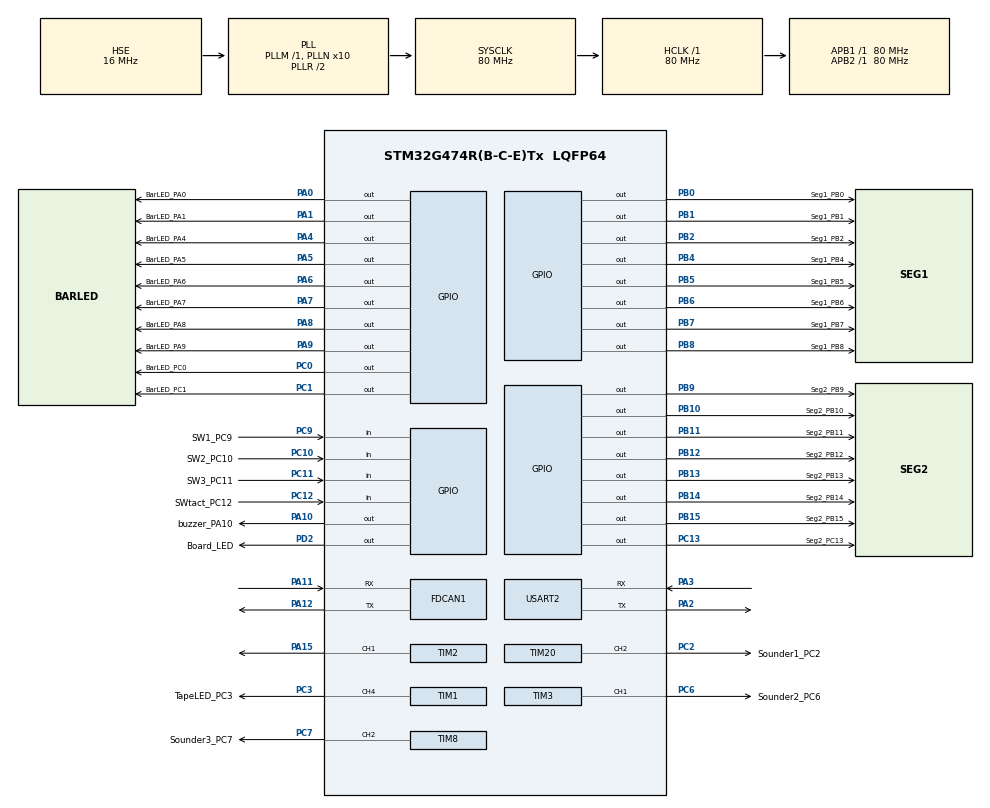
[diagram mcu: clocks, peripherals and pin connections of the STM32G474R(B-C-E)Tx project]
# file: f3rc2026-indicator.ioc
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Dma.Request0=TIM1_CH4
Dma.Request1=TIM2_CH1
Dma.TIM1_CH4.0.Direction=DMA_MEMORY_TO_PERIPH
Dma.TIM1_CH4.0.EventEnable=DISABLE
Dma.TIM1_CH4.0.Instance=DMA1_Channel1
Dma.TIM1_CH4.0.MemDataAlignment=DMA_MDATAALIGN_WORD
Dma.TIM1_CH4.0.MemInc=DMA_MINC_ENABLE
Dma.TIM1_CH4.0.Mode=DMA_NORMAL
Dma.TIM1_CH4.0.PeriphDataAlignment=DMA_PDATAALIGN_WORD
Dma.TIM1_CH4.0.PeriphInc=DMA_PINC_DISABLE
Dma.TIM1_CH4.0.Polarity=HAL_DMAMUX_REQ_GEN_RISING
Dma.TIM1_CH4.0.Priority=DMA_PRIORITY_VERY_HIGH
Dma.TIM1_CH4.0.RequestNumber=1
Dma.TIM1_CH4.0.SignalID=NONE
Dma.TIM1_CH4.0.SyncEnable=DISABLE
Dma.TIM1_CH4.0.SyncPolarity=HAL_DMAMUX_SYNC_NO_EVENT
Dma.TIM1_CH4.0.SyncRequestNumber=1
Dma.TIM1_CH4.0.SyncSignalID=NONE
Dma.TIM2_CH1.1.Direction=DMA_MEMORY_TO_PERIPH
Dma.TIM2_CH1.1.EventEnable=DISABLE
Dma.TIM2_CH1.1.Instance=DMA1_Channel2
Dma.TIM2_CH1.1.MemDataAlignment=DMA_MDATAALIGN_WORD
Dma.TIM2_CH1.1.MemInc=DMA_MINC_ENABLE
Dma.TIM2_CH1.1.Mode=DMA_NORMAL
Dma.TIM2_CH1.1.PeriphDataAlignment=DMA_PDATAALIGN_WORD
Dma.TIM2_CH1.1.PeriphInc=DMA_PINC_DISABLE
Dma.TIM2_CH1.1.Polarity=HAL_DMAMUX_REQ_GEN_RISING
Dma.TIM2_CH1.1.Priority=DMA_PRIORITY_VERY_HIGH
Dma.TIM2_CH1.1.RequestNumber=1
Dma.TIM2_CH1.1.SignalID=NONE
Dma.TIM2_CH1.1.SyncEnable=DISABLE
Dma.TIM2_CH1.1.SyncPolarity=HAL_DMAMUX_SYNC_NO_EVENT
Dma.TIM2_CH1.1.SyncRequestNumber=1
Dma.TIM2_CH1.1.SyncSignalID=NONE
FDCAN1.CalculateBaudRateNominal=1000000
FDCAN1.CalculateTimeBitNominal=1000
FDCAN1.CalculateTimeQuantumNominal=50.0
FDCAN1.DataPrescaler=2
FDCAN1.DataTimeSeg1=15
FDCAN1.DataTimeSeg2=4
FDCAN1.FrameFormat=FDCAN_FRAME_FD_BRS
FDCAN1.NominalPrescaler=4
FDCAN1.NominalTimeSeg1=15
FDCAN1.NominalTimeSeg2=4
FDCAN1.StdFiltersNbr=1
Mcu.Family=STM32G4
Mcu.Name=STM32G474R(B-C-E)Tx
Mcu.Package=LQFP64
NVIC.DMA1_Channel1_IRQn=true\:0\:0\:false\:false\:true\:false\:true\:true
NVIC.DMA1_Channel2_IRQn=true\:0\:0\:false\:false\:true\:false\:true\:true
NVIC.FDCAN1_IT0_IRQn=true\:0\:0\:false\:false\:true\:true\:true\:true
NVIC.FDCAN1_IT1_IRQn=true\:0\:0\:false\:false\:true\:true\:true\:true
NVIC.PriorityGroup=NVIC_PRIORITYGROUP_4
NVIC.TIM1_UP_TIM16_IRQn=true\:0\:0\:false\:false\:true\:true\:true\:true
NVIC.TIM20_UP_IRQn=true\:0\:0\:false\:false\:true\:true\:true\:true
NVIC.TIM3_IRQn=true\:0\:0\:false\:false\:true\:true\:true\:true
NVIC.TIM6_DAC_IRQn=true\:0\:0\:false\:false\:true\:true\:true\:true
NVIC.TIM7_DAC_IRQn=true\:0\:0\:false\:false\:true\:true\:true\:true
NVIC.TIM8_UP_IRQn=true\:0\:0\:false\:false\:true\:true\:true\:true
PA0.GPIO_Label=BarLED_PA0
PA0.PinState=GPIO_PIN_SET
PA0.Signal=GPIO_Output
PA1.GPIO_Label=BarLED_PA1
PA1.PinState=GPIO_PIN_SET
PA1.Signal=GPIO_Output
PA10.GPIO_Label=buzzer_PA10
PA10.Signal=GPIO_Output
PA11.Mode=FDCAN_Activate
PA11.Signal=FDCAN1_RX
PA12.Mode=FDCAN_Activate
PA12.Signal=FDCAN1_TX
PA15.Signal=S_TIM2_CH1
PA2.Mode=Asynchronous
PA2.Signal=USART2_TX
PA3.Mode=Asynchronous
PA3.Signal=USART2_RX
PA4.GPIO_Label=BarLED_PA4
PA4.PinState=GPIO_PIN_SET
PA4.Signal=GPIO_Output
PA5.GPIO_Label=BarLED_PA5
PA5.PinState=GPIO_PIN_SET
PA5.Signal=GPIO_Output
PA6.GPIO_Label=BarLED_PA6
PA6.PinState=GPIO_PIN_SET
PA6.Signal=GPIO_Output
PA7.GPIO_Label=BarLED_PA7
PA7.PinState=GPIO_PIN_SET
PA7.Signal=GPIO_Output
PA8.GPIO_Label=BarLED_PA8
PA8.PinState=GPIO_PIN_SET
PA8.Signal=GPIO_Output
PA9.GPIO_Label=BarLED_PA9
PA9.PinState=GPIO_PIN_SET
PA9.Signal=GPIO_Output
PB0.GPIO_Label=Seg1_PB0
PB0.PinState=GPIO_PIN_SET
PB0.Signal=GPIO_Output
PB1.GPIO_Label=Seg1_PB1
PB1.PinState=GPIO_PIN_SET
PB1.Signal=GPIO_Output
PB10.GPIO_Label=Seg2_PB10
PB10.PinState=GPIO_PIN_SET
PB10.Signal=GPIO_Output
PB11.GPIO_Label=Seg2_PB11
PB11.PinState=GPIO_PIN_SET
PB11.Signal=GPIO_Output
PB12.GPIO_Label=Seg2_PB12
PB12.PinState=GPIO_PIN_SET
PB12.Signal=GPIO_Output
PB13.GPIO_Label=Seg2_PB13
PB13.PinState=GPIO_PIN_SET
PB13.Signal=GPIO_Output
PB14.GPIO_Label=Seg2_PB14
PB14.PinState=GPIO_PIN_SET
PB14.Signal=GPIO_Output
PB15.GPIO_Label=Seg2_PB15
PB15.PinState=GPIO_PIN_SET
PB15.Signal=GPIO_Output
PB2.GPIO_Label=Seg1_PB2
PB2.PinState=GPIO_PIN_SET
PB2.Signal=GPIO_Output
PB4.GPIO_Label=Seg1_PB4
PB4.PinState=GPIO_PIN_SET
PB4.Signal=GPIO_Output
PB5.GPIO_Label=Seg1_PB5
PB5.PinState=GPIO_PIN_SET
PB5.Signal=GPIO_Output
PB6.GPIO_Label=Seg1_PB6
PB6.PinState=GPIO_PIN_SET
PB6.Signal=GPIO_Output
PB7.GPIO_Label=Seg1_PB7
PB7.PinState=GPIO_PIN_SET
PB7.Signal=GPIO_Output
PB8-BOOT0.GPIO_Label=Seg1_PB8
PB8-BOOT0.PinState=GPIO_PIN_SET
PB8-BOOT0.Signal=GPIO_Output
PB9.GPIO_Label=Seg2_PB9
PB9.PinState=GPIO_PIN_SET
PB9.Signal=GPIO_Output
PC0.GPIO_Label=BarLED_PC0
PC0.Signal=GPIO_Output
PC1.GPIO_Label=BarLED_PC1
PC1.Signal=GPIO_Output
PC10.GPIO_Label=SW2_PC10
PC10.Signal=GPIO_Input
PC11.GPIO_Label=SW3_PC11
PC11.Signal=GPIO_Input
PC12.GPIO_Label=SWtact_PC12
PC12.Signal=GPIO_Input
PC13.GPIO_Label=Seg2_PC13
PC13.PinState=GPIO_PIN_SET
PC13.Signal=GPIO_Output
PC2.GPIO_Label=Sounder1_PC2
PC2.Signal=S_TIM20_CH2
PC3.GPIO_Label=TapeLED_PC3
PC3.Signal=S_TIM1_CH4
PC6.GPIO_Label=Sounder2_PC6
PC6.Signal=S_TIM3_CH1
PC7.GPIO_Label=Sounder3_PC7
PC7.Signal=S_TIM8_CH2
PC9.GPIO_Label=SW1_PC9
PC9.GPIO_PuPd=GPIO_NOPULL
PC9.Signal=GPIO_Input
PD2.GPIO_Label=Board_LED
PD2.Signal=GPIO_Output
PF0-OSC_IN.Mode=HSE-External-Oscillator
PF0-OSC_IN.Signal=RCC_OSC_IN
PF1-OSC_OUT.Mode=HSE-External-Oscillator
PF1-OSC_OUT.Signal=RCC_OSC_OUT
ProjectManager.HeapSize=0x200
ProjectManager.StackSize=0x400
ProjectManager.TargetToolchain=CMake
RCC.ADC12Freq_Value=80000000
RCC.ADC345Freq_Value=80000000
RCC.AHBFreq_Value=80000000
RCC.APB1Freq_Value=80000000
RCC.APB1TimFreq_Value=80000000
RCC.APB2Freq_Value=80000000
RCC.APB2TimFreq_Value=80000000
RCC.CortexFreq_Value=80000000
RCC.EXTERNAL_CLOCK_VALUE=12288000
RCC.HCLKFreq_Value=80000000
RCC.HSE_VALUE=16000000
RCC.HSI48_VALUE=48000000
RCC.HSI_VALUE=16000000
RCC.LSE_VALUE=32768
RCC.PLLN=10
RCC.PLLSourceVirtual=RCC_PLLSOURCE_HSE
RCC.SYSCLKFreq_VALUE=80000000
RCC.SYSCLKSource=RCC_SYSCLKSOURCE_PLLCLK
RCC.USBFreq_Value=80000000
RCC.VCOOutputFreq_Value=160000000
SH.S_TIM1_CH4.0=TIM1_CH4,PWM Generation4 CH4
SH.S_TIM20_CH2.0=TIM20_CH2,PWM Generation2 CH2
SH.S_TIM2_CH1.0=TIM2_CH1,PWM Generation1 CH1
SH.S_TIM3_CH1.0=TIM3_CH1,PWM Generation1 CH1
SH.S_TIM8_CH2.0=TIM8_CH2,PWM Generation2 CH2
TIM1.Channel-PWM\ Generation4\ CH4=TIM_CHANNEL_4
TIM1.PeriodNoDither=99
TIM1.Prescaler=0
TIM16.PeriodNoDither=999
TIM16.Prescaler=7999
TIM2.Channel-PWM\ Generation1\ CH1=TIM_CHANNEL_1
TIM2.PeriodNoDither=99
TIM2.Prescaler=0
TIM20.Channel-PWM\ Generation2\ CH2=TIM_CHANNEL_2
TIM20.Prescaler=79
TIM3.Channel-PWM\ Generation1\ CH1=TIM_CHANNEL_1
TIM3.Prescaler=79
TIM6.PeriodNoDither=999
TIM6.Prescaler=79
TIM7.PeriodNoDither=9999
TIM7.Prescaler=79
TIM8.Channel-PWM\ Generation2\ CH2=TIM_CHANNEL_2
TIM8.Prescaler=79
USART2.VirtualMode-Asynchronous=VM_ASYNC
VP_SYS_VS_DBSignals.Mode=DisableDeadBatterySignals
VP_TIM16_VS_ClockSourceINT.Mode=Enable_Timer
VP_TIM6_VS_ClockSourceINT.Mode=Enable_Timer
VP_TIM7_VS_ClockSourceINT.Mode=Enable_Timer
board=custom

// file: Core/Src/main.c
/* USER CODE BEGIN Header */
/**
 ******************************************************************************
 * @file           : main.c
 * @brief          : Main program body
 ******************************************************************************
 * @attention
 *
 * Copyright (c) 2025 STMicroelectronics.
 * All rights reserved.
 *
 * This software is licensed under terms that can be found in the LICENSE file
 * in the root directory of this software component.
 * If no LICENSE file comes with this software, it is provided AS-IS.
 *
 ******************************************************************************
 */
/* USER CODE END Header */
#include "main.h"

/* USER CODE BEGIN Includes */
#include "barSegLED.h"
#include <stdio.h>
#include <stdbool.h> // bool
#include <math.h>
/* USER CODE END Includes */

/* USER CODE BEGIN PD */
#define My_SWtact_PRESSED GPIO_PIN_RESET
#define My_SWtact_RELEASED GPIO_PIN_SET
#define My_SWlimit_PRESSED GPIO_PIN_RESET
#define My_SWlimit_RELEASED GPIO_PIN_SET

// 反転させるのだろうか？
#define My_HIGH GPIO_PIN_RESET
#define My_LOW GPIO_PIN_SET

/* USER CODE END PD */

/* USER CODE BEGIN PM */
#define PI 3.14159

#define KP_OMEGA 2.5f

#define PPR 2000.0 //pulses per revolution
#define R 30.0//mm  //radious of wheel

#define START_POS_X (2000.0f+ 500.0f / 2.0f)
#define START_POS_Y (500.0f / 2.0f)
#define START_THETA PI

#define AVG_WINDOW_SIZE 25

// 機体の機構パラメータ (実測値をmm単位等で設定。CADデータの原点を仮想的な機体中心とした)
const float L = 15.80f; // y軸方向を向く輪のx軸からの距離
/* USER CODE END PM */

FDCAN_HandleTypeDef hfdcan1;

TIM_HandleTypeDef htim1;
TIM_HandleTypeDef htim2;
TIM_HandleTypeDef htim3;
TIM_HandleTypeDef htim6;
TIM_HandleTypeDef htim7;
TIM_HandleTypeDef htim8;
TIM_HandleTypeDef htim16;
TIM_HandleTypeDef htim20;
DMA_HandleTypeDef hdma_tim1_ch4;
DMA_HandleTypeDef hdma_tim2_ch1;

UART_HandleTypeDef huart2;

/* USER CODE BEGIN PV */
FDCAN_TxHeaderTypeDef TxHeader;
FDCAN_RxHeaderTypeDef RxHeader;
FDCAN_TxHeaderTypeDef TxHeader_2;
FDCAN_RxHeaderTypeDef RxHeader_2;

uint8_t TxData[8] = {};
uint8_t RxData[8] = {};

const int16_t vel_id = 0x005;
const int16_t odometry_id = 0x015;
const int16_t servo_id = 0x206;

uint16_t timer1000Hz = 0;     // 1000Hzタイマー
uint16_t timer100Hz = 0;      // 100Hzタイマー
uint8_t timer10Hz = 0;        // 10Hzタイマー
uint16_t timerTactSwitch = 0; // タクトスイッチチャタリング除去用タイマー

uint16_t countUpTimer1000Hz = 0; // 1000Hzタイマー用カウンタ

// 機体の縦横サイズ
const float roboWidth = 475.46;
const float roboLength = 491.44;

// ロボマス制御用
volatile float VX = 0, VY = 0; //mm/s
volatile float Omega = 0; // rad/s

// 機体の位置計算用(ローカル座標計算)
const float dt = 0.001f; // 1ms
volatile float deg1 = 0, deg2 = 0, deg3 = 0;
volatile float dwl = 0;
volatile float dxl = 0;
volatile float dyl = 0;
volatile float vx = 0, vy = 0; //mm/s
volatile float omega = 0; // rad/s

// スタート地点から算出するグローバル座標。機体を上から見た時の長方形の幾何学中心を基準点とする
volatile float x = START_POS_X;
volatile float y = START_POS_Y;
volatile float theta = START_THETA;

// 通信で取得するデータ
volatile float yaw = 0;
volatile int enc_value_1;
volatile int enc_value_2;
volatile int enc_value_3;

volatile float prev_yaw = 0.0f;

volatile uint16_t buzzerTimerMs = 0; // ブザーを鳴らす残り時間（ms）

// 自己位置推定のズレのoffset用。主にstep部分で使う予定
float offsets[] = {
    2000.0f,
    1900.0f,
    2700.0f,
    2270.0f,
    512.0f,
    1880.0f,
    1880.0f,
    2700.0f,
    2270.0f,
    1900.0f,
    1900.0f,
    2700.0f,
    2270.0f
};

volatile uint8_t servo_mode = 0; // 0:復帰, 1:動作

uint8_t swstate = 0;// リミットスイッチ上下左右

volatile bool isStarted = false;
volatile bool isSensorReady = false;
volatile uint8_t roboState = 99;

volatile uint16_t timer1 = 0;

/* USER CODE END PV */

void SystemClock_Config(void);
static void MX_GPIO_Init(void);
static void MX_DMA_Init(void);
static void MX_FDCAN1_Init(void);
static void MX_TIM1_Init(void);
static void MX_TIM3_Init(void);
static void MX_TIM8_Init(void);
static void MX_TIM6_Init(void);
static void MX_TIM20_Init(void);
static void MX_TIM2_Init(void);
static void MX_TIM7_Init(void);
static void MX_TIM16_Init(void);
static void MX_USART2_UART_Init(void);
/* USER CODE BEGIN PFP */
void interboard_comms_CAN_filter_init(FDCAN_FilterTypeDef *Hfdcan_Filter_Settings);
void interboard_comms_CAN_txheader_init(FDCAN_TxHeaderTypeDef *Htxheader);
HAL_StatusTypeDef interboard_comms_CAN_RxTxSettings_init(FDCAN_TxHeaderTypeDef *Htxheader);
HAL_StatusTypeDef CAN_SEND(uint32_t CANID, uint8_t *txdata, FDCAN_HandleTypeDef *hfdcan, FDCAN_TxHeaderTypeDef *htxheader);

void Velocity_Tx(void);
void Servo_Tx(uint8_t one_or_zero);
// uint8_t LimitSW_front(void);
// uint8_t LimitSW_back(void);
// uint8_t LimitSW_left(void);
// uint8_t LimitSW_right(void);
// uint8_t LimitSW_Start(void);

typedef struct {
    float buffer[AVG_WINDOW_SIZE]; // 静的に確保
    int index;
    int count;
    double sum;
} MovingAvgData;
/* USER CODE END PFP */

/* USER CODE BEGIN 0 */
static MovingAvgData avg_x, avg_y, avg_omega;

// uint8_t 型のバイト列（4バイト単位）を、IEEE 754 形式の float（単精度浮動小数点数）配列へ復元・変換する関数
void u8_to_float(uint8_t *req, float *des, uint32_t uint8_len)
{
  union IntAndFloat {
    uint32_t ival;
    float fval;
  };
  for(int i = 0; i < uint8_len/4; i++){
    uint32_t f32_u32 = (((uint32_t)req[i*4] << 24) | ((uint32_t)req[i*4+1] << 16) | ((uint32_t)req[i*4+2] << 8) | ((uint32_t)req[i*4+3]));
    union IntAndFloat target;
    target.ival = f32_u32;
    des[i] = target.fval;
  }
}

void u8_to_int16(uint8_t *req, int16_t *des, uint32_t int_len)
{
  for (uint32_t i = 0; i < int_len; i++)
  {
    uint16_t val = ((uint16_t)req[i * 2] << 8) | (uint16_t)req[i * 2 + 1];
    des[i] = (int16_t)val;
  }
}

float update_ma_isr(MovingAvgData *ma, float next_val) {
    // 古い値を引いて新しい値を足す (O(1)の計算)
    if (ma->count == AVG_WINDOW_SIZE) {
        ma->sum -= ma->buffer[ma->index];
    } else {
        ma->count++;
    }

    ma->buffer[ma->index] = next_val;
    ma->sum += next_val;
    ma->index = (ma->index + 1) % AVG_WINDOW_SIZE;

    return ma->sum / (float)ma->count;
}

void HAL_TIM_PWM_PulseFinishedCallback(TIM_HandleTypeDef *htim)
{
  HAL_TIM_PWM_Stop_DMA(htim, TIM_CHANNEL_4);
}

void HAL_FDCAN_RxFifo1Callback(FDCAN_HandleTypeDef *hfdcan, uint32_t RxFifo1ITs){
	if ((RxFifo1ITs & FDCAN_IT_RX_FIFO1_NEW_MESSAGE) != RESET) {

	  /* Retrieve Rx messages from RX FIFO0 */

		if (HAL_FDCAN_GetRxMessage(&hfdcan1, FDCAN_RX_FIFO1, &RxHeader, RxData) != HAL_OK) {
			printf("fdcan_getrxmessage is error\r\n");
			Error_Handler();
		}

    if (odometry_id == RxHeader.Identifier) {
      int16_t odometry_data[4];
      u8_to_int16(RxData, odometry_data, 4);

      yaw = (float)odometry_data[0] / 1000.0f; // rad
      enc_value_1 = (int)odometry_data[1];
      enc_value_2 = (int)odometry_data[2];
      enc_value_3 = (int)odometry_data[3];

      isSensorReady = !(odometry_data[0] == -32768); // 最低値が送られてきている間はバイアス計算中（未準備）とみなす
    }
	}
}

// // リミットスイッチ
// uint8_t LimitSW_front(){ // 0か1か
//   return (swstate & 0x01);
// }

// uint8_t LimitSW_back(){ // 0か1か
//   return ((swstate >> 1) & 0x01);
// }

// uint8_t LimitSW_left(){ // 0か1か
//   return ((swstate >> 2) & 0x01);
// }

// uint8_t LimitSW_right(){ // 0か1か
//   return ((swstate >> 3) & 0x01);
// }

// uint8_t LimitSW_Start(){ // 0か1か
//   printf("start sw:%d\r\n", (swstate >> 4) & 0x01);
//   return ((swstate >> 4) & 0x01);
// }

// timer
void HAL_TIM_PeriodElapsedCallback(TIM_HandleTypeDef *htim)
{
  if (&htim6 == htim)
  { // 1000Hz
    if (timerTactSwitch > 0) // カウントダウン中（クールタイム）
    {
      timerTactSwitch--;
    }
    else if (timerTactSwitch == 0) // タイマーが0になった（ボタンを押してOKな状態）
    {
      // チャタリング除去完了
      if (HAL_GPIO_ReadPin(SW3_PC11_GPIO_Port, SW3_PC11_Pin) == My_SWlimit_PRESSED)
      {
        timerTactSwitch = 500; // 500ms待機

        isStarted = true;
        roboState = 0; // start
      }
    }

    // 姿勢自動補正：角度(yaw)が傾いた分だけ逆向きの角速度(Omega)を与える
    if (!isStarted || !isSensorReady) {
      VX = 0; VY = 0; Omega = 0;
    } else {
      Omega = -KP_OMEGA * yaw;

      // 念のため補正角速度が大きくなりすぎないようリミッターをかける
      if (Omega > 1.0f)  Omega = 1.0f;
      if (Omega < -1.0f) Omega = -1.0f;

      // 計測輪の設定上4で割るっぽい
      deg1 = ((enc_value_1 / (PPR * 4.0f)) * 2.0f * PI) / dt;
      deg2 = ((enc_value_2 / (PPR * 4.0f)) * 2.0f * PI) / dt;
      deg3 = ((enc_value_3 / (PPR * 4.0f)) * 2.0f * PI) / dt;

      // 1msあたりの角度変化量から角速度 [rad/s] を算出
      dwl = (yaw - prev_yaw) / dt;
      prev_yaw = yaw; // 次回用に保持
      dxl = (deg3 + deg2) * R / 2.0f;
      dyl = deg1 * R - (L * dwl); // Y輪の回転干渉をキャンセル

      // 移動平均を計算
      vx = update_ma_isr(&avg_x, dxl);
      vy = update_ma_isr(&avg_y, dyl);
      omega = update_ma_isr(&avg_omega, dwl);

      theta = yaw + START_THETA;

      x += (vx * cosf(theta) - vy * sinf(theta)) * dt;
      y += (vx * sinf(theta) - vy * cosf(theta)) * dt;
    }

    if (roboState == 0){
      VX = -0.2; VY = -0.02;
      if(x < 1000 + offsets[0]) { // 基準点がCの白線を踏んだあたりの処理

      }

      if(x < 0 + roboWidth/2 + offsets[1]){ // offset必須か。機体がゾーンの端に行った時の処理。この時までに遮断機が降りていると予想
        roboState = 1;
        servo_mode = 1; // 回収機構の起動
      }
    }

    if (roboState == 1){
      VX = 0.2; VY = -0.02;
      if(x > 4500 - roboWidth/2 + offsets[2]) { // 庭の端で荷物を下ろす
        roboState = 2;
        servo_mode = 0;
      }
    }

    if (roboState == 2){
      VX = -0.2; VY = -0.02;
      if(x < 1000 + roboWidth/2 + offsets[3]) { // 領域手前まで移動
        roboState = 3;
      }
    }

    if (roboState == 3){
      VX = 0; VY = 0.1;
      if(y>1200 + offsets[4]) { // フィールドBの手前に来た時
        roboState = 4;
      }
    }

    if (roboState == 4){
      VX = -0.1; VY = 0;
      if(x < 1000 + offsets[5]) { // 基準点がBの白線を踏んだあたりの処理
        servo_mode = 1; // 回収機構の起動
      }

      if(x < 0 + roboWidth/2 + offsets[6]){ // 機体がゾーンの端にまで行ったら回収機を起動。ここに到達するまでには遮断機が降りている想定
        roboState = 5;
        timer1 = 500;
      }
    }

    if (roboState == 5){ // 回収動作
      VX = 0; VY = 0;
      if(timer1 == 0) {
        roboState = 6;
      }
    }

    if (roboState == 6){
      VX = 0.2; VY = 0;
      if(x > 4500 - roboWidth/2 + offsets[7]) { // 庭の端で荷物を下ろす
        roboState = 7;
        servo_mode = 0;
      }
    }

    if (roboState == 7){
      VX = -0.2; VY = 0;
      if(x < 1000 + roboWidth/2 + offsets[8]) { // 領域手前まで移動
        roboState = 8;
      }
    }

    if (roboState == 8){
      VX = 0; VY = 0.08; Omega = 0;
      if(HAL_GPIO_ReadPin(SW1_PC9_GPIO_Port, SW1_PC9_Pin) == My_SWlimit_PRESSED) { // フィールドCの手前に来た時
        roboState = 9;
      }
    }

    if (roboState == 9){
      VX = -0.2; VY = 0.07;
      if(x < 1000 + offsets[9]) { // 基準点がAの白線を踏んだあたりの処理
        servo_mode = 1; // 回収機構の動作
      }

      if(x < 0 + roboWidth/2 + offsets[10]){ // 機体がゾーンの端にまで行った時の処理。ここまでで遮断機が降り切っている想定
        roboState = 10;
      }
    }

    if (roboState == 10){
      VX = 0.1; VY = 0;
      if(x > 4500 - roboWidth/2 + offsets[11]) { // 庭の端で荷物を下ろす
        roboState = 11;
        servo_mode = 0;
      }
    }

    if (roboState == 11){
      VX = -0.1; VY = 0;
      if(x < 0 + roboWidth + offsets[12]) {
        roboState = 99;
      }
    }

    if (roboState == 99){ // end
      VX = 0; VY = 0;
    }

    Velocity_Tx();
  }

  if (&htim7 == htim) { // 100Hz
    if (timer1 > 0) timer1--;
    Servo_Tx(servo_mode);
  }

  if (&htim16 == htim) { // 10Hz
    if (!isStarted) SevenSeg_ToggleAnimate_Slider(0);
    if (roboState < 90){
      SevenSeg_Display_Number(roboState / 10, 0); // 左側に十の位を表示
      SevenSeg_Display_Number(roboState % 10, 1); // 右側に一の位を表示
    }
  }
}

void Velocity_Tx()
{
  FDCAN_TxHeaderTypeDef localTxHeader = TxHeader; // グローバル初期設定をコピー
  localTxHeader.Identifier = vel_id;

  int16_t v_x_tsushin = (int16_t)(VX * 1000); // mm/s
  int16_t v_y_tsushin = (int16_t)(VY * 1000);
  int16_t omega_tsushin = (int16_t)(Omega * 1000); // mrad/s

  uint8_t TxData_vel[8] = {};
  TxData_vel[0] = (uint8_t) ( v_x_tsushin >> 8);
  TxData_vel[1] = (uint8_t) ( v_x_tsushin & 0xff);
  TxData_vel[2] = (uint8_t) ( v_y_tsushin >> 8);
  TxData_vel[3] = (uint8_t) ( v_y_tsushin & 0xff);
  TxData_vel[4] = (uint8_t) ( omega_tsushin >> 8);
  TxData_vel[5] = (uint8_t) ( omega_tsushin & 0xff);

  //printf("Tx %d,%d,%d \r\n",v_x_tsushin,v_y_tsushin,omega_tsushin);
  if (HAL_FDCAN_AddMessageToTxFifoQ(&hfdcan1, &localTxHeader, TxData_vel) != HAL_OK){
    printf("add_message_vel is error\r\n");
    Error_Handler();
  }
}

void Servo_Tx(uint8_t one_or_zero)
{
  FDCAN_TxHeaderTypeDef localTxHeader = TxHeader; // グローバル初期設定をコピー
  localTxHeader.Identifier = servo_id;

  uint8_t TxData_Servo[8] = {};

  TxData_Servo[0] = one_or_zero ? (uint8_t)1 : (uint8_t)0;

  if (HAL_FDCAN_AddMessageToTxFifoQ(&hfdcan1, &localTxHeader, TxData_Servo) != HAL_OK){
    printf("add_message_kaishu is error\r\n");
    Error_Handler();
  }
}

int _write(int file,char *ptr,int len)
{
  HAL_UART_Transmit(&huart2, (uint8_t*)ptr, len, 10);
  return len;
}

/* USER CODE END 0 */

int main(void)
{

  /* USER CODE BEGIN 1 */
  setbuf(stdout, NULL);
  /* USER CODE END 1 */

  /* MCU Configuration--------------------------------------------------------*/

  /* Reset of all peripherals, Initializes the Flash interface and the Systick. */
  HAL_Init();

  /* Configure the system clock */
  SystemClock_Config();

  /* Initialize all configured peripherals */
  MX_GPIO_Init();
  MX_DMA_Init();
  MX_FDCAN1_Init();
  MX_TIM1_Init();
  MX_TIM3_Init();
  MX_TIM8_Init();
  MX_TIM6_Init();
  MX_TIM20_Init();
  MX_TIM2_Init();
  MX_TIM7_Init();
  MX_TIM16_Init();
  MX_USART2_UART_Init();
  /* USER CODE BEGIN 2 */
  if (HAL_OK != interboard_comms_CAN_RxTxSettings_init(&TxHeader))
    Error_Handler();

  HAL_TIM_Base_Start_IT(&htim6);
  HAL_TIM_Base_Start_IT(&htim7);
  HAL_TIM_Base_Start_IT(&htim16);
  HAL_TIM_PWM_Start(&htim1, TIM_CHANNEL_1);
  HAL_TIM_PWM_Start(&htim20, TIM_CHANNEL_2);
  HAL_TIM_PWM_Start(&htim3, TIM_CHANNEL_1);
  HAL_TIM_PWM_Start(&htim8, TIM_CHANNEL_2);

  /* USER CODE END 2 */

  /* Infinite loop */
  /* USER CODE BEGIN WHILE */
  while (1)
  {
    // printf("Hello World!\r\n");
    HAL_GPIO_WritePin(Board_LED_GPIO_Port, Board_LED_Pin, GPIO_PIN_SET); // LED ON
    /* USER CODE END WHILE */

    /* USER CODE BEGIN 3 */
    HAL_Delay(10);

    printf("x:%d, y:%d, yaw:%d\r\n", (int)x, (int)y, (int)yaw);
    printf("value1:%d, value2:%d, value3:%d\r\n", enc_value_1, enc_value_2, enc_value_3);
  }
  /* USER CODE END 3 */
}

void SystemClock_Config(void)
{
  RCC_OscInitTypeDef RCC_OscInitStruct = {0};
  RCC_ClkInitTypeDef RCC_ClkInitStruct = {0};

  /** Configure the main internal regulator output voltage
  */
  HAL_PWREx_ControlVoltageScaling(PWR_REGULATOR_VOLTAGE_SCALE1);

  /** Initializes the RCC Oscillators according to the specified parameters
  * in the RCC_OscInitTypeDef structure.
  */
  RCC_OscInitStruct.OscillatorType = RCC_OSCILLATORTYPE_HSE;
  RCC_OscInitStruct.HSEState = RCC_HSE_ON;
  RCC_OscInitStruct.PLL.PLLState = RCC_PLL_ON;
  RCC_OscInitStruct.PLL.PLLSource = RCC_PLLSOURCE_HSE;
  RCC_OscInitStruct.PLL.PLLM = RCC_PLLM_DIV1;
  RCC_OscInitStruct.PLL.PLLN = 10;
  RCC_OscInitStruct.PLL.PLLP = RCC_PLLP_DIV2;
  RCC_OscInitStruct.PLL.PLLQ = RCC_PLLQ_DIV2;
  RCC_OscInitStruct.PLL.PLLR = RCC_PLLR_DIV2;
  if (HAL_RCC_OscConfig(&RCC_OscInitStruct) != HAL_OK)
  {
    Error_Handler();
  }

  /** Initializes the CPU, AHB and APB buses clocks
  */
  RCC_ClkInitStruct.ClockType = RCC_CLOCKTYPE_HCLK|RCC_CLOCKTYPE_SYSCLK
                              |RCC_CLOCKTYPE_PCLK1|RCC_CLOCKTYPE_PCLK2;
  RCC_ClkInitStruct.SYSCLKSource = RCC_SYSCLKSOURCE_PLLCLK;
  RCC_ClkInitStruct.AHBCLKDivider = RCC_SYSCLK_DIV1;
  RCC_ClkInitStruct.APB1CLKDivider = RCC_HCLK_DIV1;
  RCC_ClkInitStruct.APB2CLKDivider = RCC_HCLK_DIV1;

  if (HAL_RCC_ClockConfig(&RCC_ClkInitStruct, FLASH_LATENCY_2) != HAL_OK)
  {
    Error_Handler();
  }
}

static void MX_FDCAN1_Init(void)
{

  hfdcan1.Instance = FDCAN1;
  hfdcan1.Init.ClockDivider = FDCAN_CLOCK_DIV1;
  hfdcan1.Init.FrameFormat = FDCAN_FRAME_FD_BRS;
  hfdcan1.Init.Mode = FDCAN_MODE_NORMAL;
  hfdcan1.Init.AutoRetransmission = DISABLE;
  hfdcan1.Init.TransmitPause = DISABLE;
  hfdcan1.Init.ProtocolException = DISABLE;
  hfdcan1.Init.NominalPrescaler = 4;
  hfdcan1.Init.NominalSyncJumpWidth = 1;
  hfdcan1.Init.NominalTimeSeg1 = 15;
  hfdcan1.Init.NominalTimeSeg2 = 4;
  hfdcan1.Init.DataPrescaler = 2;
  hfdcan1.Init.DataSyncJumpWidth = 1;
  hfdcan1.Init.DataTimeSeg1 = 15;
  hfdcan1.Init.DataTimeSeg2 = 4;
  hfdcan1.Init.StdFiltersNbr = 1;
  hfdcan1.Init.ExtFiltersNbr = 0;
  hfdcan1.Init.TxFifoQueueMode = FDCAN_TX_FIFO_OPERATION;
  if (HAL_FDCAN_Init(&hfdcan1) != HAL_OK)
  {
    Error_Handler();
  }

}

static void MX_TIM1_Init(void)
{

  TIM_MasterConfigTypeDef sMasterConfig = {0};
  TIM_OC_InitTypeDef sConfigOC = {0};
  TIM_BreakDeadTimeConfigTypeDef sBreakDeadTimeConfig = {0};

  htim1.Instance = TIM1;
  htim1.Init.Prescaler = 0;
  htim1.Init.CounterMode = TIM_COUNTERMODE_UP;
  htim1.Init.Period = 99;
  htim1.Init.ClockDivision = TIM_CLOCKDIVISION_DIV1;
  htim1.Init.RepetitionCounter = 0;
  htim1.Init.AutoReloadPreload = TIM_AUTORELOAD_PRELOAD_DISABLE;
  if (HAL_TIM_PWM_Init(&htim1) != HAL_OK)
  {
    Error_Handler();
  }
  sMasterConfig.MasterOutputTrigger = TIM_TRGO_RESET;
  sMasterConfig.MasterOutputTrigger2 = TIM_TRGO2_RESET;
  sMasterConfig.MasterSlaveMode = TIM_MASTERSLAVEMODE_DISABLE;
  if (HAL_TIMEx_MasterConfigSynchronization(&htim1, &sMasterConfig) != HAL_OK)
  {
    Error_Handler();
  }
  sConfigOC.OCMode = TIM_OCMODE_PWM1;
  sConfigOC.Pulse = 0;
  sConfigOC.OCPolarity = TIM_OCPOLARITY_HIGH;
  sConfigOC.OCNPolarity = TIM_OCNPOLARITY_HIGH;
  sConfigOC.OCFastMode = TIM_OCFAST_DISABLE;
  sConfigOC.OCIdleState = TIM_OCIDLESTATE_RESET;
  sConfigOC.OCNIdleState = TIM_OCNIDLESTATE_RESET;
  if (HAL_TIM_PWM_ConfigChannel(&htim1, &sConfigOC, TIM_CHANNEL_4) != HAL_OK)
  {
    Error_Handler();
  }
  sBreakDeadTimeConfig.OffStateRunMode = TIM_OSSR_DISABLE;
  sBreakDeadTimeConfig.OffStateIDLEMode = TIM_OSSI_DISABLE;
  sBreakDeadTimeConfig.LockLevel = TIM_LOCKLEVEL_OFF;
  sBreakDeadTimeConfig.DeadTime = 0;
  sBreakDeadTimeConfig.BreakState = TIM_BREAK_DISABLE;
  sBreakDeadTimeConfig.BreakPolarity = TIM_BREAKPOLARITY_HIGH;
  sBreakDeadTimeConfig.BreakFilter = 0;
  sBreakDeadTimeConfig.BreakAFMode = TIM_BREAK_AFMODE_INPUT;
  sBreakDeadTimeConfig.Break2State = TIM_BREAK2_DISABLE;
  sBreakDeadTimeConfig.Break2Polarity = TIM_BREAK2POLARITY_HIGH;
  sBreakDeadTimeConfig.Break2Filter = 0;
  sBreakDeadTimeConfig.Break2AFMode = TIM_BREAK_AFMODE_INPUT;
  sBreakDeadTimeConfig.AutomaticOutput = TIM_AUTOMATICOUTPUT_DISABLE;
  if (HAL_TIMEx_ConfigBreakDeadTime(&htim1, &sBreakDeadTimeConfig) != HAL_OK)
  {
    Error_Handler();
  }
  HAL_TIM_MspPostInit(&htim1);

}

static void MX_TIM2_Init(void)
{

  TIM_MasterConfigTypeDef sMasterConfig = {0};
  TIM_OC_InitTypeDef sConfigOC = {0};

  htim2.Instance = TIM2;
  htim2.Init.Prescaler = 0;
  htim2.Init.CounterMode = TIM_COUNTERMODE_UP;
  htim2.Init.Period = 99;
  htim2.Init.ClockDivision = TIM_CLOCKDIVISION_DIV1;
  htim2.Init.AutoReloadPreload = TIM_AUTORELOAD_PRELOAD_DISABLE;
  if (HAL_TIM_PWM_Init(&htim2) != HAL_OK)
  {
    Error_Handler();
  }
  sMasterConfig.MasterOutputTrigger = TIM_TRGO_RESET;
  sMasterConfig.MasterSlaveMode = TIM_MASTERSLAVEMODE_DISABLE;
  if (HAL_TIMEx_MasterConfigSynchronization(&htim2, &sMasterConfig) != HAL_OK)
  {
    Error_Handler();
  }
  sConfigOC.OCMode = TIM_OCMODE_PWM1;
  sConfigOC.Pulse = 0;
  sConfigOC.OCPolarity = TIM_OCPOLARITY_HIGH;
  sConfigOC.OCFastMode = TIM_OCFAST_DISABLE;
  if (HAL_TIM_PWM_ConfigChannel(&htim2, &sConfigOC, TIM_CHANNEL_1) != HAL_OK)
  {
    Error_Handler();
  }
  HAL_TIM_MspPostInit(&htim2);

}

static void MX_TIM3_Init(void)
{

  TIM_MasterConfigTypeDef sMasterConfig = {0};
  TIM_OC_InitTypeDef sConfigOC = {0};

  htim3.Instance = TIM3;
  htim3.Init.Prescaler = 79;
  htim3.Init.CounterMode = TIM_COUNTERMODE_UP;
  htim3.Init.Period = 65535;
  htim3.Init.ClockDivision = TIM_CLOCKDIVISION_DIV1;
  htim3.Init.AutoReloadPreload = TIM_AUTORELOAD_PRELOAD_DISABLE;
  if (HAL_TIM_PWM_Init(&htim3) != HAL_OK)
  {
    Error_Handler();
  }
  sMasterConfig.MasterOutputTrigger = TIM_TRGO_RESET;
  sMasterConfig.MasterSlaveMode = TIM_MASTERSLAVEMODE_DISABLE;
  if (HAL_TIMEx_MasterConfigSynchronization(&htim3, &sMasterConfig) != HAL_OK)
  {
    Error_Handler();
  }
  sConfigOC.OCMode = TIM_OCMODE_PWM1;
  sConfigOC.Pulse = 0;
  sConfigOC.OCPolarity = TIM_OCPOLARITY_HIGH;
  sConfigOC.OCFastMode = TIM_OCFAST_DISABLE;
  if (HAL_TIM_PWM_ConfigChannel(&htim3, &sConfigOC, TIM_CHANNEL_1) != HAL_OK)
  {
    Error_Handler();
  }
  HAL_TIM_MspPostInit(&htim3);

}

static void MX_TIM6_Init(void)
{

  TIM_MasterConfigTypeDef sMasterConfig = {0};

  htim6.Instance = TIM6;
  htim6.Init.Prescaler = 79;
  htim6.Init.CounterMode = TIM_COUNTERMODE_UP;
  htim6.Init.Period = 999;
  htim6.Init.AutoReloadPreload = TIM_AUTORELOAD_PRELOAD_DISABLE;
  if (HAL_TIM_Base_Init(&htim6) != HAL_OK)
  {
    Error_Handler();
  }
  sMasterConfig.MasterOutputTrigger = TIM_TRGO_RESET;
  sMasterConfig.MasterSlaveMode = TIM_MASTERSLAVEMODE_DISABLE;
  if (HAL_TIMEx_MasterConfigSynchronization(&htim6, &sMasterConfig) != HAL_OK)
  {
    Error_Handler();
  }

}

static void MX_TIM7_Init(void)
{

  TIM_MasterConfigTypeDef sMasterConfig = {0};

  htim7.Instance = TIM7;
  htim7.Init.Prescaler = 79;
  htim7.Init.CounterMode = TIM_COUNTERMODE_UP;
  htim7.Init.Period = 9999;
  htim7.Init.AutoReloadPreload = TIM_AUTORELOAD_PRELOAD_DISABLE;
  if (HAL_TIM_Base_Init(&htim7) != HAL_OK)
  {
    Error_Handler();
  }
  sMasterConfig.MasterOutputTrigger = TIM_TRGO_RESET;
  sMasterConfig.MasterSlaveMode = TIM_MASTERSLAVEMODE_DISABLE;
  if (HAL_TIMEx_MasterConfigSynchronization(&htim7, &sMasterConfig) != HAL_OK)
  {
    Error_Handler();
  }

}

static void MX_TIM8_Init(void)
{

  TIM_MasterConfigTypeDef sMasterConfig = {0};
  TIM_OC_InitTypeDef sConfigOC = {0};
  TIM_BreakDeadTimeConfigTypeDef sBreakDeadTimeConfig = {0};

  htim8.Instance = TIM8;
  htim8.Init.Prescaler = 79;
  htim8.Init.CounterMode = TIM_COUNTERMODE_UP;
  htim8.Init.Period = 65535;
  htim8.Init.ClockDivision = TIM_CLOCKDIVISION_DIV1;
  htim8.Init.RepetitionCounter = 0;
  htim8.Init.AutoReloadPreload = TIM_AUTORELOAD_PRELOAD_DISABLE;
  if (HAL_TIM_PWM_Init(&htim8) != HAL_OK)
  {
    Error_Handler();
  }
  sMasterConfig.MasterOutputTrigger = TIM_TRGO_RESET;
  sMasterConfig.MasterOutputTrigger2 = TIM_TRGO2_RESET;
  sMasterConfig.MasterSlaveMode = TIM_MASTERSLAVEMODE_DISABLE;
  if (HAL_TIMEx_MasterConfigSynchronization(&htim8, &sMasterConfig) != HAL_OK)
  {
    Error_Handler();
  }
  sConfigOC.OCMode = TIM_OCMODE_PWM1;
  sConfigOC.Pulse = 0;
  sConfigOC.OCPolarity = TIM_OCPOLARITY_HIGH;
  sConfigOC.OCNPolarity = TIM_OCNPOLARITY_HIGH;
  sConfigOC.OCFastMode = TIM_OCFAST_DISABLE;
  sConfigOC.OCIdleState = TIM_OCIDLESTATE_RESET;
  sConfigOC.OCNIdleState = TIM_OCNIDLESTATE_RESET;
  if (HAL_TIM_PWM_ConfigChannel(&htim8, &sConfigOC, TIM_CHANNEL_2) != HAL_OK)
  {
    Error_Handler();
  }
  sBreakDeadTimeConfig.OffStateRunMode = TIM_OSSR_DISABLE;
  sBreakDeadTimeConfig.OffStateIDLEMode = TIM_OSSI_DISABLE;
  sBreakDeadTimeConfig.LockLevel = TIM_LOCKLEVEL_OFF;
  sBreakDeadTimeConfig.DeadTime = 0;
  sBreakDeadTimeConfig.BreakState = TIM_BREAK_DISABLE;
  sBreakDeadTimeConfig.BreakPolarity = TIM_BREAKPOLARITY_HIGH;
  sBreakDeadTimeConfig.BreakFilter = 0;
  sBreakDeadTimeConfig.BreakAFMode = TIM_BREAK_AFMODE_INPUT;
  sBreakDeadTimeConfig.Break2State = TIM_BREAK2_DISABLE;
  sBreakDeadTimeConfig.Break2Polarity = TIM_BREAK2POLARITY_HIGH;
  sBreakDeadTimeConfig.Break2Filter = 0;
  sBreakDeadTimeConfig.Break2AFMode = TIM_BREAK_AFMODE_INPUT;
  sBreakDeadTimeConfig.AutomaticOutput = TIM_AUTOMATICOUTPUT_DISABLE;
  if (HAL_TIMEx_ConfigBreakDeadTime(&htim8, &sBreakDeadTimeConfig) != HAL_OK)
  {
    Error_Handler();
  }
  HAL_TIM_MspPostInit(&htim8);

}

static void MX_TIM16_Init(void)
{

  htim16.Instance = TIM16;
  htim16.Init.Prescaler = 7999;
  htim16.Init.CounterMode = TIM_COUNTERMODE_UP;
  htim16.Init.Period = 999;
  htim16.Init.ClockDivision = TIM_CLOCKDIVISION_DIV1;
  htim16.Init.RepetitionCounter = 0;
  htim16.Init.AutoReloadPreload = TIM_AUTORELOAD_PRELOAD_DISABLE;
  if (HAL_TIM_Base_Init(&htim16) != HAL_OK)
  {
    Error_Handler();
  }

}

static void MX_TIM20_Init(void)
{

  TIM_MasterConfigTypeDef sMasterConfig = {0};
  TIM_OC_InitTypeDef sConfigOC = {0};
  TIM_BreakDeadTimeConfigTypeDef sBreakDeadTimeConfig = {0};

  htim20.Instance = TIM20;
  htim20.Init.Prescaler = 79;
  htim20.Init.CounterMode = TIM_COUNTERMODE_UP;
  htim20.Init.Period = 65535;
  htim20.Init.ClockDivision = TIM_CLOCKDIVISION_DIV1;
  htim20.Init.RepetitionCounter = 0;
  htim20.Init.AutoReloadPreload = TIM_AUTORELOAD_PRELOAD_DISABLE;
  if (HAL_TIM_PWM_Init(&htim20) != HAL_OK)
  {
    Error_Handler();
  }
  sMasterConfig.MasterOutputTrigger = TIM_TRGO_RESET;
  sMasterConfig.MasterOutputTrigger2 = TIM_TRGO2_RESET;
  sMasterConfig.MasterSlaveMode = TIM_MASTERSLAVEMODE_DISABLE;
  if (HAL_TIMEx_MasterConfigSynchronization(&htim20, &sMasterConfig) != HAL_OK)
  {
    Error_Handler();
  }
  sConfigOC.OCMode = TIM_OCMODE_PWM1;
  sConfigOC.Pulse = 0;
  sConfigOC.OCPolarity = TIM_OCPOLARITY_HIGH;
  sConfigOC.OCNPolarity = TIM_OCNPOLARITY_HIGH;
  sConfigOC.OCFastMode = TIM_OCFAST_DISABLE;
  sConfigOC.OCIdleState = TIM_OCIDLESTATE_RESET;
  sConfigOC.OCNIdleState = TIM_OCNIDLESTATE_RESET;
  if (HAL_TIM_PWM_ConfigChannel(&htim20, &sConfigOC, TIM_CHANNEL_2) != HAL_OK)
  {
    Error_Handler();
  }
  sBreakDeadTimeConfig.OffStateRunMode = TIM_OSSR_DISABLE;
  sBreakDeadTimeConfig.OffStateIDLEMode = TIM_OSSI_DISABLE;
  sBreakDeadTimeConfig.LockLevel = TIM_LOCKLEVEL_OFF;
  sBreakDeadTimeConfig.DeadTime = 0;
  sBreakDeadTimeConfig.BreakState = TIM_BREAK_DISABLE;
  sBreakDeadTimeConfig.BreakPolarity = TIM_BREAKPOLARITY_HIGH;
  sBreakDeadTimeConfig.BreakFilter = 0;
  sBreakDeadTimeConfig.BreakAFMode = TIM_BREAK_AFMODE_INPUT;
  sBreakDeadTimeConfig.Break2State = TIM_BREAK2_DISABLE;
  sBreakDeadTimeConfig.Break2Polarity = TIM_BREAK2POLARITY_HIGH;
  sBreakDeadTimeConfig.Break2Filter = 0;
  sBreakDeadTimeConfig.Break2AFMode = TIM_BREAK_AFMODE_INPUT;
  sBreakDeadTimeConfig.AutomaticOutput = TIM_AUTOMATICOUTPUT_DISABLE;
  if (HAL_TIMEx_ConfigBreakDeadTime(&htim20, &sBreakDeadTimeConfig) != HAL_OK)
  {
    Error_Handler();
  }
  HAL_TIM_MspPostInit(&htim20);

}

static void MX_USART2_UART_Init(void)
{

  huart2.Instance = USART2;
  huart2.Init.BaudRate = 115200;
  huart2.Init.WordLength = UART_WORDLENGTH_8B;
  huart2.Init.StopBits = UART_STOPBITS_1;
  huart2.Init.Parity = UART_PARITY_NONE;
  huart2.Init.Mode = UART_MODE_TX_RX;
  huart2.Init.HwFlowCtl = UART_HWCONTROL_NONE;
  huart2.Init.OverSampling = UART_OVERSAMPLING_16;
  huart2.Init.OneBitSampling = UART_ONE_BIT_SAMPLE_DISABLE;
  huart2.Init.ClockPrescaler = UART_PRESCALER_DIV1;
  huart2.AdvancedInit.AdvFeatureInit = UART_ADVFEATURE_NO_INIT;
  if (HAL_UART_Init(&huart2) != HAL_OK)
  {
    Error_Handler();
  }
  if (HAL_UARTEx_SetTxFifoThreshold(&huart2, UART_TXFIFO_THRESHOLD_1_8) != HAL_OK)
  {
    Error_Handler();
  }
  if (HAL_UARTEx_SetRxFifoThreshold(&huart2, UART_RXFIFO_THRESHOLD_1_8) != HAL_OK)
  {
    Error_Handler();
  }
  if (HAL_UARTEx_DisableFifoMode(&huart2) != HAL_OK)
  {
    Error_Handler();
  }

}

static void MX_DMA_Init(void)
{

  /* DMA controller clock enable */
  __HAL_RCC_DMAMUX1_CLK_ENABLE();
  __HAL_RCC_DMA1_CLK_ENABLE();

  /* DMA interrupt init */
  /* DMA1_Channel1_IRQn interrupt configuration */
  HAL_NVIC_SetPriority(DMA1_Channel1_IRQn, 0, 0);
  HAL_NVIC_EnableIRQ(DMA1_Channel1_IRQn);
  /* DMA1_Channel2_IRQn interrupt configuration */
  HAL_NVIC_SetPriority(DMA1_Channel2_IRQn, 0, 0);
  HAL_NVIC_EnableIRQ(DMA1_Channel2_IRQn);

}

static void MX_GPIO_Init(void)
{
  GPIO_InitTypeDef GPIO_InitStruct = {0};

  /* GPIO Ports Clock Enable */
  __HAL_RCC_GPIOC_CLK_ENABLE();
  __HAL_RCC_GPIOF_CLK_ENABLE();
  __HAL_RCC_GPIOA_CLK_ENABLE();
  __HAL_RCC_GPIOB_CLK_ENABLE();
  __HAL_RCC_GPIOD_CLK_ENABLE();

  /*Configure GPIO pin Output Level */
  HAL_GPIO_WritePin(Seg2_PC13_GPIO_Port, Seg2_PC13_Pin, GPIO_PIN_SET);

  /*Configure GPIO pin Output Level */
  HAL_GPIO_WritePin(GPIOC, BarLED_PC0_Pin|BarLED_PC1_Pin, GPIO_PIN_RESET);

  /*Configure GPIO pin Output Level */
  HAL_GPIO_WritePin(GPIOA, BarLED_PA0_Pin|BarLED_PA1_Pin|BarLED_PA4_Pin|BarLED_PA5_Pin
                          |BarLED_PA6_Pin|BarLED_PA7_Pin|BarLED_PA8_Pin|BarLED_PA9_Pin, GPIO_PIN_SET);

  /*Configure GPIO pin Output Level */
  HAL_GPIO_WritePin(GPIOB, Seg1_PB0_Pin|Seg1_PB1_Pin|Seg1_PB2_Pin|Seg2_PB10_Pin
                          |Seg2_PB11_Pin|Seg2_PB12_Pin|Seg2_PB13_Pin|Seg2_PB14_Pin
                          |Seg2_PB15_Pin|Seg1_PB4_Pin|Seg1_PB5_Pin|Seg1_PB6_Pin
                          |Seg1_PB7_Pin|Seg1_PB8_Pin|Seg2_PB9_Pin, GPIO_PIN_SET);

  /*Configure GPIO pin Output Level */
  HAL_GPIO_WritePin(buzzer_PA10_GPIO_Port, buzzer_PA10_Pin, GPIO_PIN_RESET);

  /*Configure GPIO pin Output Level */
  HAL_GPIO_WritePin(Board_LED_GPIO_Port, Board_LED_Pin, GPIO_PIN_RESET);

  /*Configure GPIO pins : Seg2_PC13_Pin BarLED_PC0_Pin BarLED_PC1_Pin */
  GPIO_InitStruct.Pin = Seg2_PC13_Pin|BarLED_PC0_Pin|BarLED_PC1_Pin;
  GPIO_InitStruct.Mode = GPIO_MODE_OUTPUT_PP;
  GPIO_InitStruct.Pull = GPIO_NOPULL;
  GPIO_InitStruct.Speed = GPIO_SPEED_FREQ_LOW;
  HAL_GPIO_Init(GPIOC, &GPIO_InitStruct);

  /*Configure GPIO pins : BarLED_PA0_Pin BarLED_PA1_Pin BarLED_PA4_Pin BarLED_PA5_Pin
                           BarLED_PA6_Pin BarLED_PA7_Pin BarLED_PA8_Pin BarLED_PA9_Pin
                           buzzer_PA10_Pin */
  GPIO_InitStruct.Pin = BarLED_PA0_Pin|BarLED_PA1_Pin|BarLED_PA4_Pin|BarLED_PA5_Pin
                          |BarLED_PA6_Pin|BarLED_PA7_Pin|BarLED_PA8_Pin|BarLED_PA9_Pin
                          |buzzer_PA10_Pin;
  GPIO_InitStruct.Mode = GPIO_MODE_OUTPUT_PP;
  GPIO_InitStruct.Pull = GPIO_NOPULL;
  GPIO_InitStruct.Speed = GPIO_SPEED_FREQ_LOW;
  HAL_GPIO_Init(GPIOA, &GPIO_InitStruct);

  /*Configure GPIO pins : Seg1_PB0_Pin Seg1_PB1_Pin Seg1_PB2_Pin Seg2_PB10_Pin
                           Seg2_PB11_Pin Seg2_PB12_Pin Seg2_PB13_Pin Seg2_PB14_Pin
                           Seg2_PB15_Pin Seg1_PB4_Pin Seg1_PB5_Pin Seg1_PB6_Pin
                           Seg1_PB7_Pin Seg1_PB8_Pin Seg2_PB9_Pin */
  GPIO_InitStruct.Pin = Seg1_PB0_Pin|Seg1_PB1_Pin|Seg1_PB2_Pin|Seg2_PB10_Pin
                          |Seg2_PB11_Pin|Seg2_PB12_Pin|Seg2_PB13_Pin|Seg2_PB14_Pin
                          |Seg2_PB15_Pin|Seg1_PB4_Pin|Seg1_PB5_Pin|Seg1_PB6_Pin
                          |Seg1_PB7_Pin|Seg1_PB8_Pin|Seg2_PB9_Pin;
  GPIO_InitStruct.Mode = GPIO_MODE_OUTPUT_PP;
  GPIO_InitStruct.Pull = GPIO_NOPULL;
  GPIO_InitStruct.Speed = GPIO_SPEED_FREQ_LOW;
  HAL_GPIO_Init(GPIOB, &GPIO_InitStruct);

  /*Configure GPIO pins : SW1_PC9_Pin SW2_PC10_Pin SW3_PC11_Pin SWtact_PC12_Pin */
  GPIO_InitStruct.Pin = SW1_PC9_Pin|SW2_PC10_Pin|SW3_PC11_Pin|SWtact_PC12_Pin;
  GPIO_InitStruct.Mode = GPIO_MODE_INPUT;
  GPIO_InitStruct.Pull = GPIO_NOPULL;
  HAL_GPIO_Init(GPIOC, &GPIO_InitStruct);

  /*Configure GPIO pin : Board_LED_Pin */
  GPIO_InitStruct.Pin = Board_LED_Pin;
  GPIO_InitStruct.Mode = GPIO_MODE_OUTPUT_PP;
  GPIO_InitStruct.Pull = GPIO_NOPULL;
  GPIO_InitStruct.Speed = GPIO_SPEED_FREQ_LOW;
  HAL_GPIO_Init(Board_LED_GPIO_Port, &GPIO_InitStruct);

}

/* USER CODE BEGIN 4 */
void interboard_comms_CAN_filter_init(FDCAN_FilterTypeDef *Hfdcan_Filter_Settings)
{
  Hfdcan_Filter_Settings->IdType = FDCAN_STANDARD_ID;
  Hfdcan_Filter_Settings->FilterIndex = 0;
  Hfdcan_Filter_Settings->FilterType = FDCAN_FILTER_RANGE;
  Hfdcan_Filter_Settings->FilterConfig = FDCAN_FILTER_TO_RXFIFO1;
  Hfdcan_Filter_Settings->FilterID1 = 0x00;
  Hfdcan_Filter_Settings->FilterID2 = 0x7ff;
}

void interboard_comms_CAN_txheader_init(FDCAN_TxHeaderTypeDef *Htxheader)
{
  Htxheader->Identifier = 0x00;
  Htxheader->IdType = FDCAN_STANDARD_ID;
  Htxheader->TxFrameType = FDCAN_DATA_FRAME;
  Htxheader->DataLength = FDCAN_DLC_BYTES_8;
  Htxheader->ErrorStateIndicator = FDCAN_ESI_ACTIVE;
  Htxheader->FDFormat = FDCAN_FD_CAN;
  Htxheader->BitRateSwitch = FDCAN_BRS_ON;
  Htxheader->TxEventFifoControl = FDCAN_NO_TX_EVENTS;
  Htxheader->MessageMarker = 0;
}

HAL_StatusTypeDef interboard_comms_CAN_RxTxSettings_init(FDCAN_TxHeaderTypeDef *Htxheader)
{
  FDCAN_FilterTypeDef FDCAN_Filter_settings;
  interboard_comms_CAN_filter_init(&FDCAN_Filter_settings);
  interboard_comms_CAN_txheader_init(&TxHeader);
  if (HAL_OK != HAL_FDCAN_ConfigFilter(&hfdcan1, &FDCAN_Filter_settings))
  {
    printf("fdcan_configfilter is error\r\n");
    return HAL_ERROR;
  }
  if (HAL_OK != HAL_FDCAN_ConfigGlobalFilter(&hfdcan1, FDCAN_REJECT, FDCAN_FILTER_REJECT, FDCAN_FILTER_REMOTE, FDCAN_FILTER_REMOTE))
  {
    printf("fdcan_configglobalfilter is error\r\n");
    return HAL_ERROR;
  }
  if (HAL_OK != HAL_FDCAN_Start(&hfdcan1))
  {
    printf("fdcan_start is error\r\n");
    return HAL_ERROR;
  }
  if (HAL_OK != HAL_FDCAN_ActivateNotification(&hfdcan1, FDCAN_IT_RX_FIFO1_NEW_MESSAGE, 0))
  {
    printf("fdcan_activatenotification is error\r\n");
    return HAL_ERROR;
  }

  return HAL_OK;
}

HAL_StatusTypeDef CAN_SEND(uint32_t CANID, uint8_t *txdata, FDCAN_HandleTypeDef *hfdcan, FDCAN_TxHeaderTypeDef *htxheader)
{
  htxheader->Identifier = CANID;
  if (HAL_OK != HAL_FDCAN_AddMessageToTxFifoQ(hfdcan, htxheader, txdata))
  {
    printf("addmessage error\r\n");
    return HAL_ERROR;
  }
  return HAL_OK;
}
/* USER CODE END 4 */

void Error_Handler(void)
{
  /* USER CODE BEGIN Error_Handler_Debug */
  /* User can add his own implementation to report the HAL error return state */
  printf("Error");
  __disable_irq();
  while (1)
  {
  }
  /* USER CODE END Error_Handler_Debug */
}
